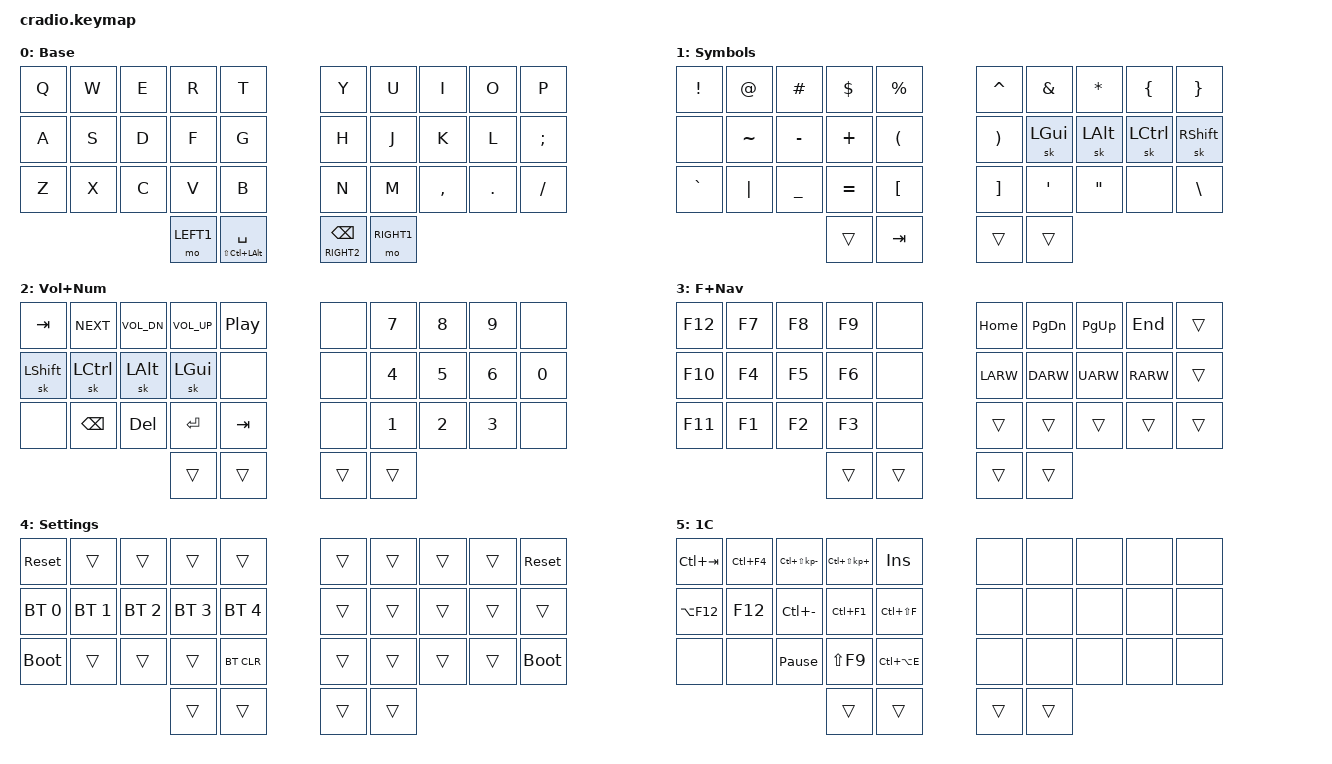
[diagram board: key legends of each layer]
// Copyright (c) 2022 The ZMK Contributors
// SPDX-License-Identifier: MIT

#include <behaviors.dtsi>
#include <dt-bindings/zmk/keys.h>
#include <dt-bindings/zmk/bt.h>

// Home row mods macro
// #define HRML(k1,k2,k3,k4) &ht LSHFT k1  &ht LCTRL k2  &ht LALT k3  &ht LGUI k4
// #define HRMR(k1,k2,k3,k4) &ht RGUI k1  &ht RALT k2  &ht RCTRL k3  &ht RSHFT k4
#define DEFAULT 0
#define RIGHT1   1
#define LEFT1    2
#define RIGHT2   3
#define TRI      4
#define ODIN_C   5

&lt {
    tapping-term-ms = <250>;
    // quick-tap-ms = <150>;
};

&mt {
    tapping-term-ms = <250>;
    flavor = "tap-preferred";
    // quick-tap-ms = <150>;
};

&sl {
    release-after-ms = <2000>;
};

/ {
    macros {
        language_macro: language_macro {

            compatible = "zmk,behavior-macro";
            #binding-cells = <0>;
            wait-ms = <10>;
            tap-ms = <5>;
            bindings
                = <&kp LS(LC(LA(BSLH)))>
                // , <&kp LA(LSHIFT)>
                , <&kp F18>
                ;
        };
        language_macro_ru: language_macro_ru {
            compatible = "zmk,behavior-macro";
            #binding-cells = <0>;
            wait-ms = <10>;
            tap-ms = <5>;
            bindings
                = <&kp LS(LC(LA(MINUS)))>
                // , <&kp LA(LSHIFT)>
                , <&kp F19>
                ;
        };
    };

    combos {
        #include "combos.dtsi"
    };

    behaviors {
        ht: hold_tap {
            label = "hold_tap";
            compatible = "zmk,behavior-hold-tap";
            #binding-cells = <2>;
            flavor = "tap-preferred";
            // flavor = "balanced";
            // flavor = "hold-preferred";
            //tapping-term-ms = <220>;
            tapping-term-ms = <190>;
            quick-tap-ms = <150>;
            require-prior-idle-ms = <100>;
            bindings = <&kp>, <&kp>;
        };
    };

    conditional_layers {
        compatible = "zmk,conditional-layers";
        tri_layer {
            if-layers = <RIGHT1 LEFT1>;
            then-layer = <TRI>;
        };
        // odin_c_layer {
        //     if-layers = <RIGHT1 RIGHT2>;
        //     then-layer = <ODIN_C>;
        // };
    };

    keymap {
        compatible = "zmk,keymap";
        default_layer {
            display-name = "Base";
            bindings = <
        //╭──────────┬──────────┬──────────┬──────────┬──────────╮        ╭──────────┬──────────┬──────────┬──────────┬──────────╮
        //│  Q       │  W       │  E       │  R       │  T       │        │  Y       │  U       │  I       │  O       │  P       │
            &kp Q      &kp W      &kp E      &kp R      &kp T               &kp Y      &kp U      &kp I      &kp O      &kp P
        //├──────────┼──────────┼──────────┼──────────┼──────────┤        ├──────────┼──────────┼──────────┼──────────┼──────────┤
        //│  A       │  S       │  D       │  F       │  G       │        │  H       │  J       │  K       │  L       │ ; :      │
            &kp A      &kp S      &kp D      &kp F      &kp G               &kp H      &kp J      &kp K      &kp L     &kp SEMI
        //├──────────┼──────────┼──────────┼──────────┼──────────┤        ├──────────┼──────────┼──────────┼──────────┼──────────┤
        //│  Z       │  X       │  C       │  V       │  B       │        │  N       │  M       │ , <      │ . >      │ / ?      │
            &kp Z      &kp X      &kp C      &kp V      &kp B               &kp N      &kp M      &kp COMMA  &kp DOT    &kp FSLH
        //╰──────────┴──────────┴──────────┼──────────┼──────────┤        ├──────────┼──────────┼──────────┴──────────┴──────────╯
                                 &mo LEFT1  &mt LS(LC(LALT)) SPACE         &lt RIGHT2 BSPC   &mo RIGHT1 
        //                                 ╰──────────┴──────────╯        ╰──────────┴──────────╯
            >;
        };

        right1_layer {
            display-name = "Symbols";
            bindings = <
        //╭──────────┬──────────┬──────────┬──────────┬──────────╮   ╭──────────┬──────────┬──────────┬──────────┬──────────╮
        //│ !        │  @       │  #       │  $       │ %        │   │  ^       │  &       │  *       │  {       │  }       │
            &kp EXCL   &kp AT     &kp HASH   &kp DLLR   &kp PRCNT      &kp CARET  &kp AMPS   &kp ASTRK  &kp LBRC   &kp RBRC
        //├──────────┼──────────┼──────────┼──────────┼──────────┤   ├──────────┼──────────┼──────────┼──────────┼──────────┤
        //│ XXXXXX   │  ~       │  -       │  +       │ (        │   │   )      │  Command │  Option  │  Control │  Shift   │
            &none      &kp TILDE  &kp MINUS  &kp PLUS  &kp LPAR        &kp RPAR   &sk LGUI   &sk LALT   &sk LCTRL  &sk RSHFT
        //├──────────┼──────────┼──────────┼──────────┼──────────┤   ├──────────┼──────────┼──────────┼──────────┼──────────┤
        //│ `        │ |        │ _        │  =       │  [       │   │    ]     │  '       │  "       │  XXXXXX  │    \     │
            &kp GRAVE  &kp PIPE   &kp UNDER  &kp EQUAL  &kp LBKT       &kp RBKT   &kp SQT    &kp DQT    &none       &kp BSLH
        //╰──────────┴──────────┴──────────┼──────────┼──────────┤   ├──────────┼──────────┼──────────┴──────────┴──────────╯
                                             &trans     &kp TAB         &trans     &trans
        //                                 ╰──────────┴──────────╯   ╰──────────┴──────────╯
            >;
        };


        left1_layer {
            display-name = "Vol+Num";
            bindings = <
        //╭──────────┬──────────┬──────────┬──────────┬──────────╮   ╭──────────┬──────────┬──────────┬──────────┬──────────╮
        //│ Prev song│ Next song│ Vol Down │ Vol UP   │ Pause    │   │ XXXXXX   │  7       │  8       │  9       │  XXXXXX  │
            &kp TAB   &kp C_NEXT &kp C_VOL_DN &kp C_VOL_UP &kp C_PP      &none     &kp N7     &kp N8     &kp N9     &none    
        // &bt BT_SEL 0  &bt BT_SEL 1 &bt BT_SEL 2 &bt BT_SEL 3 &bt BT_SEL 4    &trans     &kp N7     &kp N8     &kp N9     &trans 
        //├──────────┼──────────┼──────────┼──────────┼──────────┤   ├──────────┼──────────┼──────────┼──────────┼──────────┤
        //│ Shift    │  Control │  Option  │  Command │ XXXXXX   │   │  XXXXXX  │  4       │  5       │  6       │  0       │
           &sk LSHFT  &sk LCTRL   &sk LALT   &sk LGUI  &none           &none     &kp N4     &kp N5     &kp N6     &kp N0
        //├──────────┼──────────┼──────────┼──────────┼──────────┤   ├──────────┼──────────┼──────────┼──────────┼──────────┤
        //│  XXXXXX  │Backspace │ Delete   │ ENTER    │ TAB      │   │  XXXXXX  |  1       │  2       │  3       │ XXXXXX   │
            &none      &kp BSPC  &kp DEL   &kp ENTER  &kp TAB          &none     &kp N1     &kp N2     &kp N3      &none
        //╰──────────┴──────────┴──────────┼──────────┼──────────┤   ├──────────┼──────────┼──────────┴──────────┴──────────╯
                                             &trans     &trans         &trans     &trans
        //                                 ╰──────────┴──────────╯   ╰──────────┴──────────╯
            >;
        };

        right2_layer {
            display-name = "F+Nav";
            bindings = <
        //╭──────────┬──────────┬──────────┬──────────┬──────────╮   ╭──────────┬──────────┬──────────┬──────────┬──────────╮
        //│  F12     │   F7     │   F8     │   F9     │  XXXXXX  │   │ HOME     │ PAGE DN  │ PAGE UP  │ END      │          │
            &kp F12     &kp F7     &kp F8     &kp F9     &none          &kp HOME   &kp PG_DN  &kp PG_UP  &kp END   &trans
        //├──────────┼──────────┼──────────┼──────────┼──────────┤   ├──────────┼──────────┼──────────┼──────────┼──────────┤
        //│  F10     │   F4     │   F5     │   F6     │  XXXXXX  │   │ LEFT     │ DOWN     │ UP       │ RIGHT    │          │
            &kp F10     &kp F4     &kp F5     &kp F6     &none          &kp LARW   &kp DARW   &kp UARW   &kp RARW  &trans
        //├──────────┼──────────┼──────────┼──────────┼──────────┤   ├──────────┼──────────┼──────────┼──────────┼──────────┤
        //│  F11     │   F1     │   F2     │   F3     │  XXXXXX  │   │          │          │          │          │          │
            &kp F11     &kp F1     &kp F2     &kp F3     &none          &trans     &trans     &trans     &trans    &trans
        //╰──────────┴──────────┴──────────┼──────────┼──────────┤   ├──────────┼──────────┼──────────┴──────────┴──────────╯
                                             &trans     &trans         &trans     &trans
        //                                 ╰──────────┴──────────╯   ╰──────────┴──────────╯
            >;
        };

        tri_layer {
            display-name = "Settings";
            bindings = <
        //╭──────────┬──────────┬──────────┬──────────┬──────────╮   ╭──────────┬──────────┬──────────┬──────────┬──────────╮
        //│ RESET    │          │          │          │          │   │          │          │          │          │  RESET   │
           &sys_reset  &trans     &trans     &trans    &trans          &trans     &trans     &trans     &trans    &sys_reset
        //├──────────┼──────────┼──────────┼──────────┼──────────┤   ├──────────┼──────────┼──────────┼──────────┼──────────┤
        //│PROFILE 0 │PROFILE 1 │PROFILE 2 │PROFILE 3 │PROFILE 4 │   │          │          │          │          │          │
    &bt BT_SEL 0  &bt BT_SEL 1 &bt BT_SEL 2 &bt BT_SEL 3 &bt BT_SEL 4 &trans     &trans     &trans     &trans    &trans
        //├──────────┼──────────┼──────────┼──────────┼──────────┤   ├──────────┼──────────┼──────────┼──────────┼──────────┤
        //│BOOTLOADER│          │          │          │ CLEAR BT │   │          │          │          │          │BOOTLOADER│
          &bootloader  &trans     &trans    &trans     &bt BT_CLR      &trans     &trans     &trans     &trans    &bootloader
        //╰──────────┴──────────┴──────────┼──────────┼──────────┤   ├──────────┼──────────┼──────────┴──────────┴──────────╯
                                             &trans     &trans         &trans     &trans
        //                                 ╰──────────┴──────────╯   ╰──────────┴──────────╯
            >;
        };


        odin_c_layer {
            display-name = "1C";
            bindings = <
        //╭──────────┬──────────┬─────────          ─┬──────────          ┬──────────╮   ╭──────────┬──────────┬──────────┬──────────┬──────────╮
        //│          │          │                    │                    │          │   │          │          │          │          │          │
        &kp LC(TAB) &kp LC(F4)   &kp LC(LS(KP_MINUS)) &kp LC(LS(KP_PLUS)) &kp INS         &none  &none      &none      &none       &none
        //├──────────┼──────────┼─────────          ─┼──────────          ┼──────────┤   ├──────────┼──────────┼──────────┼──────────┼──────────┤
        //│          │          │                    │                    │          │   │          │          │          │          │          │
          &kp LA(F12) &kp F12     &kp LC(MINUS)       &kp LC(F1)           &kp LC(LS(F))   &none       &none      &none      &none       &none
        //├──────────┼──────────┼─────────          ─┼──────────          ┼──────────┤   ├──────────┼──────────┼──────────┼──────────┼──────────┤
        //│          │          │                    │                    │          │   │          │          │          │          │          │
           &none      &none       &kp PAUSE_BREAK    &kp LS(F9)           &kp LC(LA(E))  &none  &none      &none      &none       &none
        //╰──────────┴──────────┴─────────          ─┼──────────          ┼──────────┤   ├──────────┼──────────┼──────────┴──────────┴──────────╯
                                                      &trans               &trans         &trans     &trans
        //                                           ╰──────────          ┴──────────╯   ╰──────────┴──────────╯
            >;
        };


    };
};
